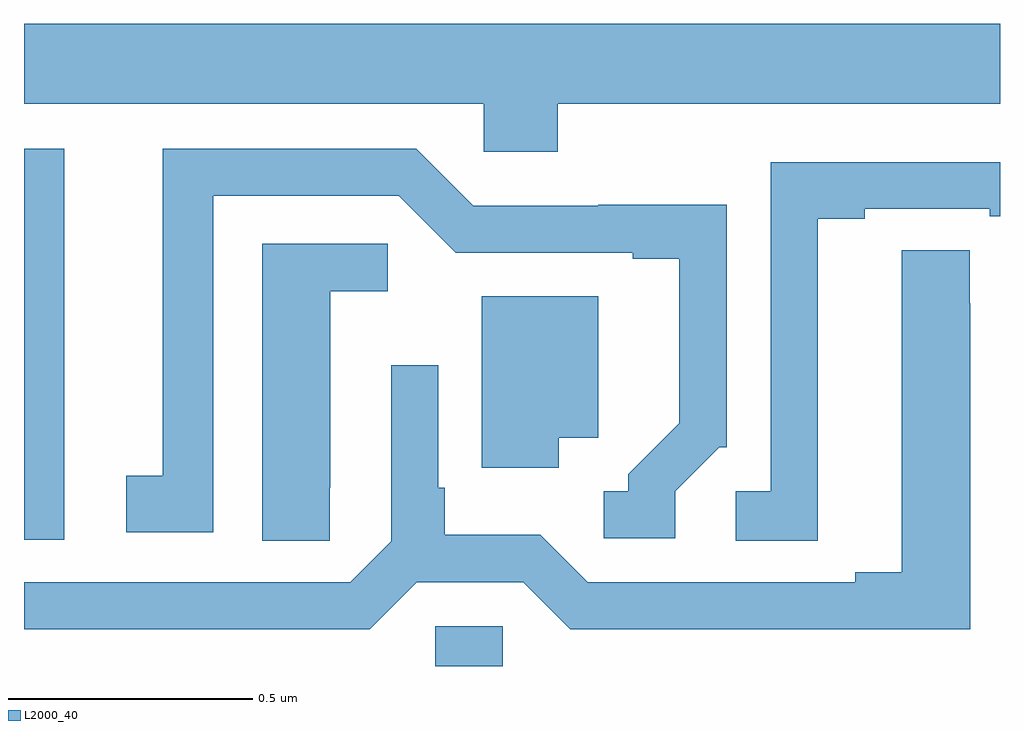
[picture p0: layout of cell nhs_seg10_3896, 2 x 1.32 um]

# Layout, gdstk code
import gdstk
lib = gdstk.Library(unit=1e-6, precision=1e-09)
def R(c, l, rs):  # rectangles x0, y0, x1, y1
    for r in rs: c.add(gdstk.rectangle(r[:2], r[2:], *l))
def P(c, l, *ps):  # polygons
    for p in ps: c.add(gdstk.Polygon(p, *l))
L2000_40 = (2000, 40)

nhs_seg10_3896 = lib.new_cell('nhs_seg10_3896')
R(nhs_seg10_3896, L2000_40, [(159.843,1296.5,159.981,1296.582), (159,1296.759,159.082,1297.56)])
P(nhs_seg10_3896, L2000_40, [(160.094,1297.652),(161,1297.652),(161,1297.816),(159,1297.816),(159,1297.652),(159.942,1297.652),(159.942,1297.554),(160.094,1297.554)],
  [(160.335,1296.858),(160.425,1296.948),(160.44,1296.948),(160.44,1297.445),(160.177,1297.445),(160.177,1297.443),(159.921,1297.443),(159.804,1297.56),(159.284,1297.56),(159.284,1296.89),(159.21,1296.89),(159.21,1296.774),(159.388,1296.774),(159.388,1297.464),(159.768,1297.464),(159.885,1297.347),(160.247,1297.347),(160.247,1297.335),(160.343,1297.335),(160.343,1296.998),(160.238,1296.893),(160.238,1296.858),(160.188,1296.858),(160.188,1296.762),(160.335,1296.762)],
  [(160.627,1297.417),(160.723,1297.417),(160.723,1297.437),(160.979,1297.437),(160.979,1297.422),(161,1297.422),(161,1297.533),(160.53,1297.533),(160.53,1296.858),(160.458,1296.858),(160.458,1296.757),(160.627,1296.757)],
  [(159.627,1296.865),(159.628,1296.865),(159.628,1297.268),(159.745,1297.268),(159.745,1297.365),(159.488,1297.365),(159.488,1296.757),(159.627,1296.757)],
  [(159.805,1296.672),(160.023,1296.672),(160.119,1296.576),(160.939,1296.576),(160.939,1297.244),(160.938,1297.244),(160.938,1297.352),(160.799,1297.352),(160.799,1296.692),(160.703,1296.692),(160.703,1296.672),(160.155,1296.672),(160.058,1296.769),(159.862,1296.769),(159.862,1296.865),(159.849,1296.865),(159.849,1297.117),(159.753,1297.117),(159.753,1296.756),(159.669,1296.672),(159,1296.672),(159,1296.576),(159.709,1296.576)],
  [(160.096,1296.968),(160.177,1296.968),(160.177,1297.258),(159.938,1297.258),(159.938,1296.906),(160.096,1296.906)])

lib.write_gds('nhs_seg10_3896.gds')
